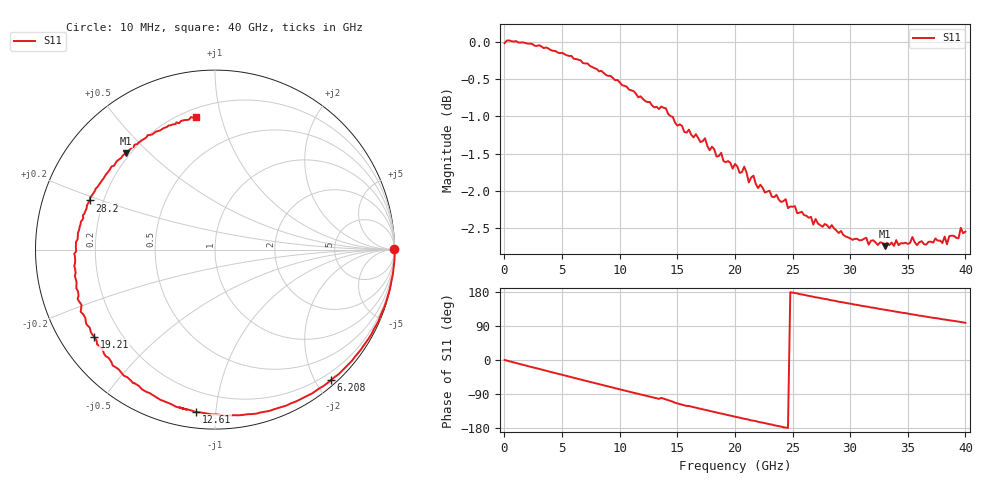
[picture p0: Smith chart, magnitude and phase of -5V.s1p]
!Agilent Technologies,N5227A,US51270434,A.10.00.00
!Agilent N5227A: A.10.00.00
!Date: Monday, January 26, 2026 17:21:30
!Correction: S11(Full 1 Port(1))
!S1P File: Measurement: S11:
# Hz S  dB  R 50
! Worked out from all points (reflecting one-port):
!   201 points, 10 MHz to 40 GHz, reference 50 ohm
!   lowest |S11| = -2.7 dB at 33 GHz (marker M1), VSWR 6.39, Z = 9.28 + j21.3 ohm
!   phase of S11 starts at 0 deg and turns -262 deg over the sweep
!   S11 on the Smith chart (normalised r, x): 10 MHz: open; 6.208 GHz: 0.08, -2.22; 12.61 GHz: 0.08, -0.89; 19.21 GHz: 0.10, -0.32; 28.2 GHz: 0.15, +0.19; 40 GHz: 0.25, +0.84
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1e7  -0.02 0.2
1.00975e9  0.01 -7.9
2.4094e9  -0.03 -18.9
3.6091e9  -0.08 -28.3
5.00875e9  -0.15 -39.0
6.20845e9  -0.23 -48.4
8.008e9  -0.37 -62.2
1.00075e10  -0.55 -77.4
1.12072e10  -0.66 -86.3
1.260685e10  -0.81 -96.6
1.340665e10  -0.90 -102.6
1.36066e10  -0.87 -100.0
1.40065e10  -0.89 -103.8
1.500625e10  -1.13 -114.5
1.580605e10  -1.22 -121.3
1.6006e10  -1.18 -121.5
1.740565e10  -1.29 -131.4
1.92052e10  -1.62 -144.1
2.0005e10  -1.64 -149.7
2.16046e10  -1.80 -160.3
2.36041e10  -2.05 -173.4
2.500375e10  -2.21 177.7
2.820295e10  -2.50 158.6
3.00025e10  -2.64 148.5
3.300175e10  -2.74 132.7
3.500125e10  -2.71 122.4
3.740065e10  -2.64 110.5
4e10  -2.54 98.1
